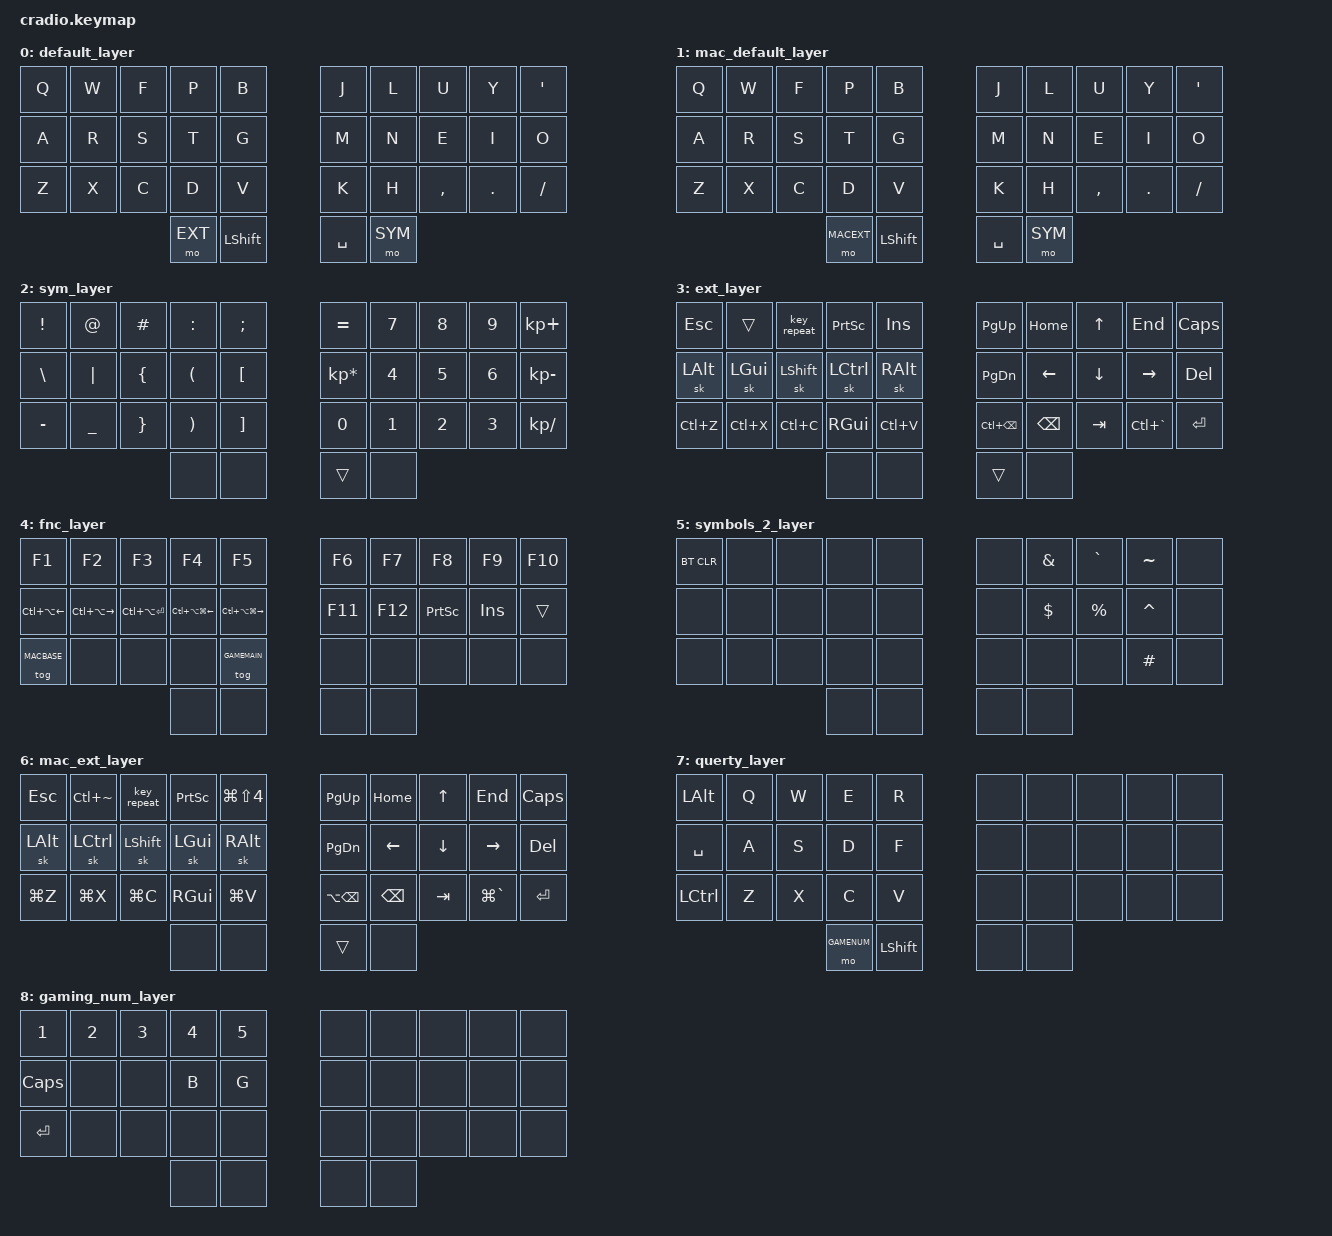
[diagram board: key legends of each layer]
/*
 * Copyright (c) 2020 The ZMK Contributors
 *
 * SPDX-License-Identifier: MIT
 */

#include <behaviors.dtsi>
#include <dt-bindings/zmk/keys.h>
#include <dt-bindings/zmk/bt.h>

// Layer definitions
    #define BASE 0
	#define MACBASE 1
    #define SYM 2
    #define EXT 3
    #define FNC 4
    #define SYM2 5
    #define MACEXT 6
	#define GAMEMAIN 7
	#define GAMENUM 8

// -----------------

&mt {
  //  flavor = "tap-preferred";
   // tapping_term_ms = <200>;
};

/ { 

     combos {
        compatible = "zmk,combos";
				// left-board-right-thumb + right-board-right-thumb
				combo_sym2 {
						timeout-ms = <200>;
						key-positions = <31 33>;
						bindings = <&mo SYM2>;
				};

				// outer thumb keys
				combo_settings {
						timeout-ms = <300>;
						key-positions = <30 33>;
						bindings = <&mo FNC>;
				};

    };

        keymap {
                compatible = "zmk,keymap";
                
       		default_layer {
		bindings = <
		&kp Q &kp W &kp F &kp P &kp B 						&kp J &kp L  &kp U &kp Y &kp QUOT
		&kp A &kp R &kp S &kp T &kp G 			        	&kp M &kp N &kp E &kp I &kp O
		&kp Z &kp X &kp C &kp D &kp V				        &kp K &kp H  &kp CMMA &kp DOT &kp SLASH
          				&mo EXT &kp LSHIFT  				&kp SPC &mo SYM 
		>;
		};

		// MAC

				mac_default_layer {
		bindings = <
		&kp Q &kp W &kp F &kp P &kp B 						&kp J &kp L  &kp U &kp Y &kp QUOT
		&kp A &kp R &kp S &kp T &kp G 			        	&kp M &kp N &kp E &kp I &kp O
		&kp Z &kp X &kp C &kp D &kp V				        &kp K &kp H  &kp CMMA &kp DOT &kp SLASH
          				&mo MACEXT &kp LSHIFT  				&kp SPC &mo SYM 
		>;
		};

       		sym_layer {
		bindings = <
		&kp EXCL    &kp AT      &kp HASH    &kp COLON   &kp SEMI		    &kp EQUAL       &kp NUM_7   &kp NUM_8 &kp NUM_9  &kp KP_PLUS 
		&kp BSLH    &kp PIPE    &kp LBRC    &kp LPAR    &kp LBKT 		    &kp KP_ASTERISK &kp NUM_4   &kp NUM_5 &kp NUM_6  &kp KP_MINUS 
		&kp MINUS   &kp UNDER 	&kp RBRC    &kp RPAR    &kp RBKT 	        &kp NUM_0       &kp NUM_1   &kp NUM_2 &kp NUM_3  &kp KP_SLASH 
					                                &none  &none  			&trans &none 
		>;
		};
		
	   // Main modifiers and arrow keys
		    ext_layer {
		bindings = <
		&kp ESC     &trans      &key_repeat     &kp PSCRN  &kp INS    			&kp PG_UP    &kp HOME   &kp UP    &kp END     &kp CAPS
		&sk LALT    &sk LGUI    &sk LSHIFT  &sk LCTRL  &sk RALT 			&kp PG_DN    &kp LEFT   &kp DOWN  &kp RIGHT   &kp DEL
		&kp LC(Z)   &kp LC(X)   &kp LC(C)   &kp RGUI   &kp LC(V)            &kp LC(BSPC) &kp BSPC   &kp TAB   &kp LC(GRAVE)   &kp ENTER
					                                &none &none             &trans  &none
		>;
		};
		
	 // Function keys with modifiers
       		fnc_layer {
		bindings = <
		&kp F1 &kp F2 &kp F3 &kp F4 &kp F5                  &kp F6 &kp F7 &kp F8 &kp F9 &kp F10 
		&kp LC(LA(LEFT)) &kp LC(LA(RIGHT)) &kp LC(LA(ENTER)) &kp LC(LA(LG(LEFT))) &kp LC(LA(LG(RIGHT)))     &kp F11 &kp F12  &kp PRINTSCREEN &kp INS &trans
		&tog MACBASE &none &none &none &tog GAMEMAIN				          &none &none &none &none &none 
          				           &none &none              &none &none  
		>;
		};

        // Low frequency symbols.
       		symbols_2_layer {
		bindings = <
		&bt BT_CLR  &none &none &none &none        &none &kp AMPS &kp GRAVE &kp TILDE &none 
		&none &none &none &none &none        &none &kp DOLLAR &kp PRCNT &kp CARET &none 
		&none &none &none &none &none			  &none &none &none &kp HASH &none
          				 &none &none        	                &none &none 
		>;
		};

		
	   // Main modifiers and arrow keys
		    mac_ext_layer {
		bindings = <
		&kp ESC     &kp LC(TILDE)      &key_repeat      &kp PSCRN  &kp LG(LS(N4))    			&kp PG_UP    &kp HOME  &kp UP    &kp END     &kp CAPS
		&sk LALT    &sk LCTRL    &sk LSHIFT  &sk LGUI  &sk RALT 			&kp PG_DN    &kp LEFT   &kp DOWN  &kp RIGHT   &kp DEL
		&kp LG(Z)   &kp LG(X)   &kp LG(C)   &kp RGUI   &kp LG(V)            &kp LA(BSPC) &kp BSPC   &kp TAB   &kp LG(GRAVE)   &kp ENTER
					                                &none &none             &trans  &none
		>;
		};

		// Qwerty Layer
			querty_layer {
		bindings = <
		&kp LALT &kp Q &kp W &kp E &kp R 						 &none  &none &none &none &none 
		&kp SPC &kp A &kp S &kp D &kp F 			        	 &none  &none &none &none &none 
		&kp LCTRL &kp Z &kp X &kp C &kp V				         &none  &none &none &none &none 
          				&mo GAMENUM &kp LSHIFT  				&none  &none 
		>;
		};
   
   // gaming nums
			gaming_num_layer {
		bindings = <
			&kp NUM_1  &kp NUM_2 &kp NUM_3 &kp NUM_4 &kp NUM_5        &none  &none &none &none &none 
			&kp CAPS &none &none &kp B &kp G       &none  &none &none &none &none  
			&kp ENTER &none &none &none &none			&none  &none &none &none &none 
							&none &none        	                &none &none 
			>;
			};
		};
};
